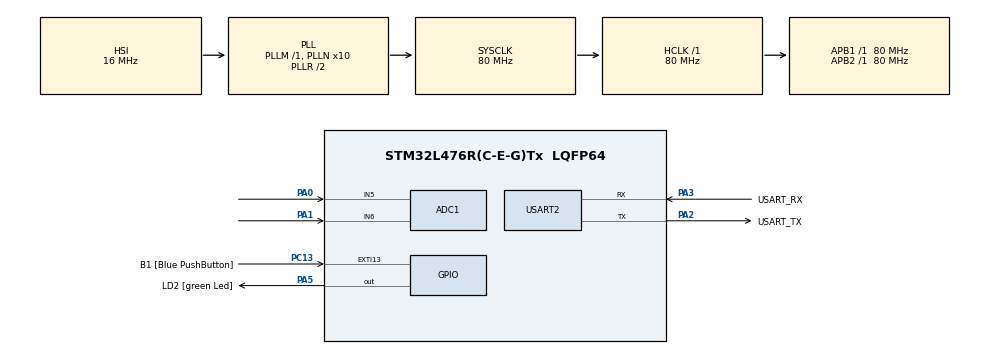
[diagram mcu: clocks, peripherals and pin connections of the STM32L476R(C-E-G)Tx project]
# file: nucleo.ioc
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ADC1.Channel-13\#ChannelRegularConversion=ADC_CHANNEL_5
ADC1.NbrOfConversionFlag=1
ADC1.OffsetNumber-13\#ChannelRegularConversion=ADC_OFFSET_NONE
ADC1.Rank-13\#ChannelRegularConversion=1
ADC1.SamplingTime-13\#ChannelRegularConversion=ADC_SAMPLETIME_2CYCLES_5
ADC1.SingleDiff-13\#ChannelRegularConversion=ADC_DIFFERENTIAL_ENDED
ADC1.master=1
Dma.MEMTOMEM.0.Direction=DMA_MEMORY_TO_MEMORY
Dma.MEMTOMEM.0.Instance=DMA2_Channel1
Dma.MEMTOMEM.0.MemDataAlignment=DMA_MDATAALIGN_BYTE
Dma.MEMTOMEM.0.MemInc=DMA_MINC_ENABLE
Dma.MEMTOMEM.0.Mode=DMA_NORMAL
Dma.MEMTOMEM.0.PeriphDataAlignment=DMA_PDATAALIGN_BYTE
Dma.MEMTOMEM.0.PeriphInc=DMA_PINC_ENABLE
Dma.MEMTOMEM.0.Priority=DMA_PRIORITY_LOW
Dma.Request0=MEMTOMEM
Mcu.Family=STM32L4
Mcu.Name=STM32L476R(C-E-G)Tx
Mcu.Package=LQFP64
NVIC.ADC1_2_IRQn=true\:0\:0\:false\:false\:true\:true
NVIC.PriorityGroup=NVIC_PRIORITYGROUP_4
NVIC.USART2_IRQn=true\:0\:0\:false\:true\:true\:1\:true
PA0.Signal=ADCx_IN5
PA1.Signal=ADCx_IN6
PA13\ (JTMS-SWDIO).GPIO_Label=TMS
PA13\ (JTMS-SWDIO).Mode=Serial_Wire
PA13\ (JTMS-SWDIO).Signal=SYS_JTMS-SWDIO
PA14\ (JTCK-SWCLK).GPIO_Label=TCK
PA14\ (JTCK-SWCLK).Mode=Serial_Wire
PA14\ (JTCK-SWCLK).Signal=SYS_JTCK-SWCLK
PA2.GPIO_Label=USART_TX
PA2.GPIO_Mode=GPIO_MODE_AF_PP
PA2.GPIO_PuPd=GPIO_NOPULL
PA2.GPIO_Speed=GPIO_SPEED_FREQ_VERY_HIGH
PA2.Mode=Asynchronous
PA2.Signal=USART2_TX
PA3.GPIO_Label=USART_RX
PA3.GPIO_Mode=GPIO_MODE_AF_PP
PA3.GPIO_PuPd=GPIO_NOPULL
PA3.GPIO_Speed=GPIO_SPEED_FREQ_VERY_HIGH
PA3.Mode=Asynchronous
PA3.Signal=USART2_RX
PA5.GPIO_Label=LD2 [green Led]
PA5.GPIO_ModeDefaultOutputPP=GPIO_MODE_OUTPUT_PP
PA5.GPIO_PuPd=GPIO_NOPULL
PA5.GPIO_Speed=GPIO_SPEED_FREQ_LOW
PA5.Signal=GPIO_Output
PB3\ (JTDO-TRACESWO).GPIO_Label=SWO
PB3\ (JTDO-TRACESWO).Signal=SYS_JTDO-SWO
PC0.Signal=ADCx_IN1
PC1.Signal=ADCx_IN2
PC13.GPIO_Label=B1 [Blue PushButton]
PC13.GPIO_ModeDefaultEXTI=GPIO_MODE_IT_FALLING
PC13.GPIO_PuPd=GPIO_NOPULL
PC13.Signal=GPXTI13
PC14-OSC32_IN\ (PC14).Mode=LSE-External-Oscillator
PC14-OSC32_IN\ (PC14).Signal=RCC_OSC32_IN
PC15-OSC32_OUT\ (PC15).Mode=LSE-External-Oscillator
PC15-OSC32_OUT\ (PC15).Signal=RCC_OSC32_OUT
PH0-OSC_IN\ (PH0).Signal=RCC_OSC_IN
PH1-OSC_OUT\ (PH1).Signal=RCC_OSC_OUT
ProjectManager.HeapSize=0x4000
ProjectManager.StackSize=0x2000
ProjectManager.TargetToolchain=SW4STM32
RCC.ADCFreq_Value=64000000
RCC.AHBFreq_Value=80000000
RCC.APB1Freq_Value=80000000
RCC.APB1TimFreq_Value=80000000
RCC.APB2Freq_Value=80000000
RCC.APB2TimFreq_Value=80000000
RCC.CortexFreq_Value=80000000
RCC.HCLKFreq_Value=80000000
RCC.HSE_VALUE=8000000
RCC.HSI_VALUE=16000000
RCC.MSI_VALUE=4000000
RCC.PLLN=10
RCC.PLLSourceVirtual=RCC_PLLSOURCE_HSI
RCC.PREFETCH_ENABLE=1
RCC.SYSCLKFreq_VALUE=80000000
RCC.SYSCLKSource=RCC_SYSCLKSOURCE_PLLCLK
RCC.USBFreq_Value=64000000
RCC.VCOOutputFreq_Value=160000000
SH.ADCx_IN1.0=ADC2_IN1
SH.ADCx_IN1.1=ADC1_IN1
SH.ADCx_IN2.0=ADC3_IN2
SH.ADCx_IN2.1=ADC1_IN2
SH.ADCx_IN5.0=ADC1_IN5,IN5-Differential
SH.ADCx_IN6.0=ADC1_IN6,IN5-Differential
USART2.VirtualMode-Asynchronous=VM_ASYNC
board=NUCLEO-L476RG

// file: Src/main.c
/* USER CODE BEGIN Header */
/**
  ******************************************************************************
  * @file           : main.c
  * @brief          : Main program body
  ******************************************************************************
  ** This notice applies to any and all portions of this file
  * that are not between comment pairs USER CODE BEGIN and
  * USER CODE END. Other portions of this file, whether
  * inserted by the user or by software development tools
  * are owned by their respective copyright owners.
  *
  * COPYRIGHT(c) 2019 STMicroelectronics
  *
  * Redistribution and use in source and binary forms, with or without modification,
  * are permitted provided that the following conditions are met:
  *   1. Redistributions of source code must retain the above copyright notice,
  *      this list of conditions and the following disclaimer.
  *   2. Redistributions in binary form must reproduce the above copyright notice,
  *      this list of conditions and the following disclaimer in the documentation
  *      and/or other materials provided with the distribution.
  *   3. Neither the name of STMicroelectronics nor the names of its contributors
  *      may be used to endorse or promote products derived from this software
  *      without specific prior written permission.
  *
  * THIS SOFTWARE IS PROVIDED BY THE COPYRIGHT HOLDERS AND CONTRIBUTORS "AS IS"
  * AND ANY EXPRESS OR IMPLIED WARRANTIES, INCLUDING, BUT NOT LIMITED TO, THE
  * IMPLIED WARRANTIES OF MERCHANTABILITY AND FITNESS FOR A PARTICULAR PURPOSE ARE
  * DISCLAIMED. IN NO EVENT SHALL THE COPYRIGHT HOLDER OR CONTRIBUTORS BE LIABLE
  * FOR ANY DIRECT, INDIRECT, INCIDENTAL, SPECIAL, EXEMPLARY, OR CONSEQUENTIAL
  * DAMAGES (INCLUDING, BUT NOT LIMITED TO, PROCUREMENT OF SUBSTITUTE GOODS OR
  * SERVICES; LOSS OF USE, DATA, OR PROFITS; OR BUSINESS INTERRUPTION) HOWEVER
  * CAUSED AND ON ANY THEORY OF LIABILITY, WHETHER IN CONTRACT, STRICT LIABILITY,
  * OR TORT (INCLUDING NEGLIGENCE OR OTHERWISE) ARISING IN ANY WAY OUT OF THE USE
  * OF THIS SOFTWARE, EVEN IF ADVISED OF THE POSSIBILITY OF SUCH DAMAGE.
  *
  ******************************************************************************
  */
/* USER CODE END Header */

#include "main.h"
#include "adc.h"
#include "dma.h"
#include "usart.h"
#include "gpio.h"
#include <Gemmi.h>

/* USER CODE BEGIN Includes */
#include <string.h>
#include <arm_math.h>
/* USER CODE END Includes */

/* USER CODE BEGIN PV */
/* UART handler declaration */
__IO ITStatus RxReady = RESET;
__IO ITStatus TxReady = RESET;

uint8_t aTxBuffer[6000];
#define UART_INPUT_SIZE 300
uint8_t aRxBuffer[UART_INPUT_SIZE];

volatile bool adc_it_is_cleared = false;
volatile float adcValue = 0.0f;
uint32_t timestamp = 0;
uint32_t timestamp_safe = 0;

static const float frequency = 20.0f;
float sinus = 0.0f;
float cosinus = 0.0f;
float leistung = 0.0f;
uint8_t schmitttriggered = 0;

bool transmitting = false;

/* USER CODE END PV */

void SystemClock_Config(void);
static void MX_NVIC_Init(void);

/* USER CODE BEGIN PFP */
void transmit_data(UartJsonHandle self);

/* USER CODE END PFP */

int main(void){

    /* MCU Configuration--------------------------------------------------------*/

    /* Reset of all peripherals, Initializes the Flash interface and the Systick. */
    HAL_Init();

    /* Configure the system clock */
    SystemClock_Config();

    /* Initialize all configured peripherals */
    MX_GPIO_Init();
    MX_DMA_Init();
    MX_USART2_UART_Init();
    MX_ADC1_Init();

    /* Initialize interrupts */
    MX_NVIC_Init();
    /* USER CODE BEGIN 2 */

    JsonUartStack_create(50, 5, transmit_data, &timestamp_safe, 5);
    JsonUartPublicStack stack =  JsonUartStack_getObject();

    /* adding some variables to the AddressStorage
     * These can be trasmitted to the host if wanted */
    AddressStorage_addAnnounceAddress(stack.addressStorage, "sinus", &sinus, FLOAT, 0);
    AddressStorage_addAnnounceAddress(stack.addressStorage, "cosinus", &cosinus, FLOAT, 1);
    AddressStorage_addAnnounceAddress(stack.addressStorage, "tangent", &leistung, FLOAT, 2);
    AddressStorage_addAnnounceAddress(stack.addressStorage, "schmitttriggered", &schmitttriggered, UINT8, 3);

    HAL_UART_Receive_IT(&huart2, (uint8_t*) aRxBuffer, UART_INPUT_SIZE);
    HAL_ADC_Start_IT(&hadc1);

    /* USER CODE END 2 */

    /* Infinite loop */
    while(1){

        /* USER CODE BEGIN 3 */
        /* Update timestmap */

        timestamp = HAL_GetTick();

        if(adc_it_is_cleared == true){
            adc_it_is_cleared = false;
            HAL_ADC_Start_IT(&hadc1);
        }

        if(TxReady == SET){
            UartJson_resetTx(stack.uartJson);
            TxReady = RESET;
        }
        if(RxReady == SET){
            UartJson_putRxData(stack.uartJson, aRxBuffer, UART_INPUT_SIZE);
            RxReady = RESET;
            HAL_UART_Receive_IT(&huart2, (uint8_t*) aRxBuffer, UART_INPUT_SIZE);
        }

        if(timestamp > timestamp_safe && transmitting == false){

            timestamp_safe = timestamp;
            float t_in_s = timestamp / 1000.0f;

            sinus = 2 * sinf(2 * PI * frequency * t_in_s);
            cosinus = 2 * cosf(2 * PI * frequency * t_in_s);
            leistung = sinus * cosinus;
            schmitttriggered = (adcValue > 1) ? 2 : 0;

            JsonUartStack_run();
        }
    }
    return 0;
    /* USER CODE END 3 */
}

void SystemClock_Config(void){
    RCC_OscInitTypeDef RCC_OscInitStruct = {0};
    RCC_ClkInitTypeDef RCC_ClkInitStruct = {0};
    RCC_PeriphCLKInitTypeDef PeriphClkInit = {0};

    /**Initializes the CPU, AHB and APB busses clocks
    */
    RCC_OscInitStruct.OscillatorType = RCC_OSCILLATORTYPE_HSI;
    RCC_OscInitStruct.HSIState = RCC_HSI_ON;
    RCC_OscInitStruct.HSICalibrationValue = RCC_HSICALIBRATION_DEFAULT;
    RCC_OscInitStruct.PLL.PLLState = RCC_PLL_ON;
    RCC_OscInitStruct.PLL.PLLSource = RCC_PLLSOURCE_HSI;
    RCC_OscInitStruct.PLL.PLLM = 1;
    RCC_OscInitStruct.PLL.PLLN = 10;
    RCC_OscInitStruct.PLL.PLLP = RCC_PLLP_DIV7;
    RCC_OscInitStruct.PLL.PLLQ = RCC_PLLQ_DIV2;
    RCC_OscInitStruct.PLL.PLLR = RCC_PLLR_DIV2;
    if(HAL_RCC_OscConfig(&RCC_OscInitStruct) != HAL_OK){
        Error_Handler();
    }
    /**Initializes the CPU, AHB and APB busses clocks
    */
    RCC_ClkInitStruct.ClockType = RCC_CLOCKTYPE_HCLK | RCC_CLOCKTYPE_SYSCLK
                                  | RCC_CLOCKTYPE_PCLK1 | RCC_CLOCKTYPE_PCLK2;
    RCC_ClkInitStruct.SYSCLKSource = RCC_SYSCLKSOURCE_PLLCLK;
    RCC_ClkInitStruct.AHBCLKDivider = RCC_SYSCLK_DIV1;
    RCC_ClkInitStruct.APB1CLKDivider = RCC_HCLK_DIV1;
    RCC_ClkInitStruct.APB2CLKDivider = RCC_HCLK_DIV1;

    if(HAL_RCC_ClockConfig(&RCC_ClkInitStruct, FLASH_LATENCY_4) != HAL_OK){
        Error_Handler();
    }
    PeriphClkInit.PeriphClockSelection = RCC_PERIPHCLK_USART2 | RCC_PERIPHCLK_ADC;
    PeriphClkInit.Usart2ClockSelection = RCC_USART2CLKSOURCE_PCLK1;
    PeriphClkInit.AdcClockSelection = RCC_ADCCLKSOURCE_PLLSAI1;
    PeriphClkInit.PLLSAI1.PLLSAI1Source = RCC_PLLSOURCE_HSI;
    PeriphClkInit.PLLSAI1.PLLSAI1M = 1;
    PeriphClkInit.PLLSAI1.PLLSAI1N = 8;
    PeriphClkInit.PLLSAI1.PLLSAI1P = RCC_PLLP_DIV7;
    PeriphClkInit.PLLSAI1.PLLSAI1Q = RCC_PLLQ_DIV2;
    PeriphClkInit.PLLSAI1.PLLSAI1R = RCC_PLLR_DIV2;
    PeriphClkInit.PLLSAI1.PLLSAI1ClockOut = RCC_PLLSAI1_ADC1CLK;
    if(HAL_RCCEx_PeriphCLKConfig(&PeriphClkInit) != HAL_OK){
        Error_Handler();
    }
    /**Configure the main internal regulator output voltage
    */
    if(HAL_PWREx_ControlVoltageScaling(PWR_REGULATOR_VOLTAGE_SCALE1) != HAL_OK){
        Error_Handler();
    }
}

/**
  * @brief NVIC Configuration.
  * @retval None
  */
static void MX_NVIC_Init(void){
    /* USART2_IRQn interrupt configuration */
    HAL_NVIC_SetPriority(USART2_IRQn, 0, 0);
    HAL_NVIC_EnableIRQ(USART2_IRQn);
}

/* USER CODE BEGIN 4 */
void transmit_data(UartJsonHandle self){

    size_t length = UartJson_amountOfTxDataPending(self);
    UartJson_getTxData(self, aTxBuffer, length);
    HAL_UART_Transmit_IT(&huart2, aTxBuffer, (uint16_t) length);
    transmitting = true;
}

/**
  * @brief  Tx Transfer completed callback
  * @param  UartHandle: UART handle.
  * @note   This example shows a simple way to report end of IT Tx transfer, and
  *         you can add your own implementation.
  * @retval None
  */
void HAL_UART_TxCpltCallback(UART_HandleTypeDef* UartHandle){
    /* Set transmission flag: transfer complete */
    HAL_UART_Receive_IT(&huart2, (uint8_t*) aRxBuffer, UART_INPUT_SIZE);
    TxReady = SET;
    transmitting = false;
}

/**
  * @brief  Rx Transfer completed callback
  * @param  UartHandle: UART handle
  * @note   This example shows a simple way to report end of DMA Rx transfer, and
  *         you can add your own implementation.
  * @retval None
  */
void HAL_UART_RxCpltCallback(UART_HandleTypeDef* UartHandle){
    /* Set transmission flag: transfer complete */
    RxReady = SET;
}

void HAL_ADC_ConvCpltCallback(ADC_HandleTypeDef* hadc){

    uint32_t adc = HAL_ADC_GetValue(hadc);

    adcValue =  (float)(((float) adc / (1 << 12)) -0.49) * 4;
    adc_it_is_cleared = true;
}

/* USER CODE END 4 */

void Error_Handler(void){
    /* USER CODE BEGIN Error_Handler_Debug */
    /* User can add his own implementation to report the HAL error return state */

    volatile int error;

    while(1){
        error = 1;
    }
    /* USER CODE END Error_Handler_Debug */
}

/************************ (C) COPYRIGHT STMicroelectronics *****END OF FILE****/
